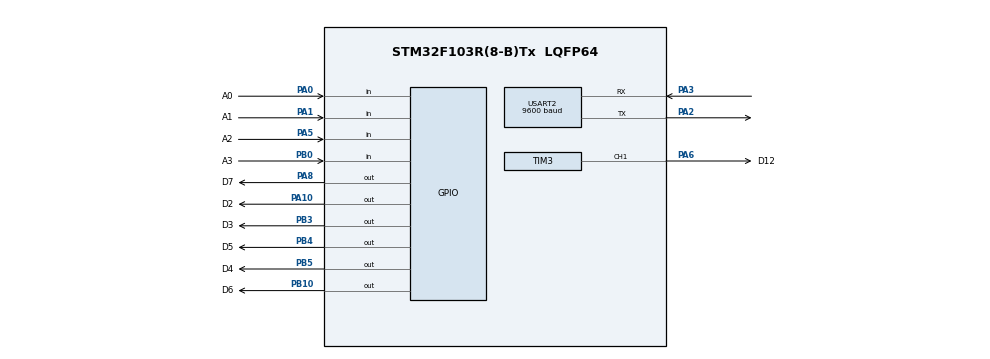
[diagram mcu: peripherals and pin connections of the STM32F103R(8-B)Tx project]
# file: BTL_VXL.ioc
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Mcu.Family=STM32F1
Mcu.Name=STM32F103R(8-B)Tx
Mcu.Package=LQFP64
NVIC.PriorityGroup=NVIC_PRIORITYGROUP_4
NVIC.TIM2_IRQn=true\:0\:0\:false\:false\:true\:true\:true
NVIC.TIM3_IRQn=true\:0\:0\:false\:false\:true\:true\:true
NVIC.USART2_IRQn=true\:0\:0\:false\:false\:true\:true\:true
PA0-WKUP.GPIO_Label=A0
PA0-WKUP.Signal=GPIO_Input
PA1.GPIO_Label=A1
PA1.Signal=GPIO_Input
PA10.GPIO_Label=D2
PA10.Signal=GPIO_Output
PA2.Mode=Asynchronous
PA2.Signal=USART2_TX
PA3.Mode=Asynchronous
PA3.Signal=USART2_RX
PA5.GPIO_Label=A2
PA5.Signal=GPIO_Input
PA6.GPIO_Label=D12
PA6.Signal=S_TIM3_CH1
PA8.GPIO_Label=D7
PA8.Signal=GPIO_Output
PB0.GPIO_Label=A3
PB0.Signal=GPIO_Input
PB10.GPIO_Label=D6
PB10.Signal=GPIO_Output
PB3.GPIO_Label=D3
PB3.Signal=GPIO_Output
PB4.GPIO_Label=D5
PB4.Signal=GPIO_Output
PB5.GPIO_Label=D4
PB5.Signal=GPIO_Output
ProjectManager.HeapSize=0x200
ProjectManager.StackSize=0x400
ProjectManager.TargetToolchain=STM32CubeIDE
RCC.APB1Freq_Value=8000000
RCC.APB2Freq_Value=8000000
SH.S_TIM3_CH1.0=TIM3_CH1,Output Compare1 CH1
TIM2.Period=10
TIM2.Prescaler=63
TIM3.Channel-Output\ Compare1\ CH1=TIM_CHANNEL_1
USART2.BaudRate=9600
USART2.VirtualMode=VM_ASYNC
VP_SYS_VS_ND.Mode=No_Debug
VP_TIM2_VS_ClockSourceINT.Mode=Internal
VP_TIM3_VS_ClockSourceINT.Mode=Internal
board=custom

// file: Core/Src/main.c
/* USER CODE BEGIN Header */
/**
  ******************************************************************************
  * @file           : main.c
  * @brief          : Main program body
  ******************************************************************************
  * @attention
  *
  * <h2><center>&copy; Copyright (c) 2023 STMicroelectronics.
  * All rights reserved.</center></h2>
  *
  * This software component is licensed by ST under BSD 3-Clause license,
  * the "License"; You may not use this file except in compliance with the
  * License. You may obtain a copy of the License at:
  *                        opensource.org/licenses/BSD-3-Clause
  *
  ******************************************************************************
  */
/* USER CODE END Header */
#include "main.h"

/* USER CODE BEGIN Includes */
#include <stdio.h>
#include "software_timer.h"
#include "fsm.h"
#include "button.h"
/* USER CODE END Includes */

TIM_HandleTypeDef htim2;
TIM_HandleTypeDef htim3;

UART_HandleTypeDef huart2;

void SystemClock_Config(void);
static void MX_GPIO_Init(void);
static void MX_TIM2_Init(void);
static void MX_USART2_UART_Init(void);
static void MX_TIM3_Init(void);

/* USER CODE BEGIN 0 */
void HAL_UART_RxCpltCallback(UART_HandleTypeDef *huart) {
	if (huart->Instance == USART2) {}
}
/* USER CODE END 0 */

int main(void)
{

  /* MCU Configuration--------------------------------------------------------*/

  /* Reset of all peripherals, Initializes the Flash interface and the Systick. */
  HAL_Init();

  /* Configure the system clock */
  SystemClock_Config();

  /* Initialize all configured peripherals */
  MX_GPIO_Init();
  MX_TIM2_Init();
  MX_USART2_UART_Init();
  MX_TIM3_Init();
  /* USER CODE BEGIN 2 */
  HAL_TIM_Base_Start_IT(&htim2);
  HAL_TIM_Base_Start_IT(&htim3);
  HAL_TIM_PWM_Start(&htim3, TIM_CHANNEL_1);
  /* USER CODE END 2 */

  /* Infinite loop */
  /* USER CODE BEGIN WHILE */
  while (1)
  {
	  fsm_automatic_run();
	  fsm_manual_run();
	  fsm_tuning_run();
    /* USER CODE END WHILE */

  }
}

void SystemClock_Config(void)
{
  RCC_OscInitTypeDef RCC_OscInitStruct = {0};
  RCC_ClkInitTypeDef RCC_ClkInitStruct = {0};

  /** Initializes the RCC Oscillators according to the specified parameters
  * in the RCC_OscInitTypeDef structure.
  */
  RCC_OscInitStruct.OscillatorType = RCC_OSCILLATORTYPE_HSI;
  RCC_OscInitStruct.HSIState = RCC_HSI_ON;
  RCC_OscInitStruct.HSICalibrationValue = RCC_HSICALIBRATION_DEFAULT;
  RCC_OscInitStruct.PLL.PLLState = RCC_PLL_NONE;
  if (HAL_RCC_OscConfig(&RCC_OscInitStruct) != HAL_OK)
  {
    Error_Handler();
  }
  /** Initializes the CPU, AHB and APB buses clocks
  */
  RCC_ClkInitStruct.ClockType = RCC_CLOCKTYPE_HCLK|RCC_CLOCKTYPE_SYSCLK
                              |RCC_CLOCKTYPE_PCLK1|RCC_CLOCKTYPE_PCLK2;
  RCC_ClkInitStruct.SYSCLKSource = RCC_SYSCLKSOURCE_HSI;
  RCC_ClkInitStruct.AHBCLKDivider = RCC_SYSCLK_DIV1;
  RCC_ClkInitStruct.APB1CLKDivider = RCC_HCLK_DIV1;
  RCC_ClkInitStruct.APB2CLKDivider = RCC_HCLK_DIV1;

  if (HAL_RCC_ClockConfig(&RCC_ClkInitStruct, FLASH_LATENCY_0) != HAL_OK)
  {
    Error_Handler();
  }
}

static void MX_TIM2_Init(void)
{

  TIM_ClockConfigTypeDef sClockSourceConfig = {0};
  TIM_MasterConfigTypeDef sMasterConfig = {0};

  htim2.Instance = TIM2;
  htim2.Init.Prescaler = 63;
  htim2.Init.CounterMode = TIM_COUNTERMODE_UP;
  htim2.Init.Period = 10;
  htim2.Init.ClockDivision = TIM_CLOCKDIVISION_DIV1;
  htim2.Init.AutoReloadPreload = TIM_AUTORELOAD_PRELOAD_DISABLE;
  if (HAL_TIM_Base_Init(&htim2) != HAL_OK)
  {
    Error_Handler();
  }
  sClockSourceConfig.ClockSource = TIM_CLOCKSOURCE_INTERNAL;
  if (HAL_TIM_ConfigClockSource(&htim2, &sClockSourceConfig) != HAL_OK)
  {
    Error_Handler();
  }
  sMasterConfig.MasterOutputTrigger = TIM_TRGO_RESET;
  sMasterConfig.MasterSlaveMode = TIM_MASTERSLAVEMODE_DISABLE;
  if (HAL_TIMEx_MasterConfigSynchronization(&htim2, &sMasterConfig) != HAL_OK)
  {
    Error_Handler();
  }

}

static void MX_TIM3_Init(void)
{

  TIM_ClockConfigTypeDef sClockSourceConfig = {0};
  TIM_MasterConfigTypeDef sMasterConfig = {0};
  TIM_OC_InitTypeDef sConfigOC = {0};

  htim3.Instance = TIM3;
  htim3.Init.Prescaler = 0;
  htim3.Init.CounterMode = TIM_COUNTERMODE_UP;
  htim3.Init.Period = 65535;
  htim3.Init.ClockDivision = TIM_CLOCKDIVISION_DIV1;
  htim3.Init.AutoReloadPreload = TIM_AUTORELOAD_PRELOAD_DISABLE;
  if (HAL_TIM_Base_Init(&htim3) != HAL_OK)
  {
    Error_Handler();
  }
  sClockSourceConfig.ClockSource = TIM_CLOCKSOURCE_INTERNAL;
  if (HAL_TIM_ConfigClockSource(&htim3, &sClockSourceConfig) != HAL_OK)
  {
    Error_Handler();
  }
  if (HAL_TIM_OC_Init(&htim3) != HAL_OK)
  {
    Error_Handler();
  }
  sMasterConfig.MasterOutputTrigger = TIM_TRGO_RESET;
  sMasterConfig.MasterSlaveMode = TIM_MASTERSLAVEMODE_DISABLE;
  if (HAL_TIMEx_MasterConfigSynchronization(&htim3, &sMasterConfig) != HAL_OK)
  {
    Error_Handler();
  }
  sConfigOC.OCMode = TIM_OCMODE_TIMING;
  sConfigOC.Pulse = 0;
  sConfigOC.OCPolarity = TIM_OCPOLARITY_HIGH;
  sConfigOC.OCFastMode = TIM_OCFAST_DISABLE;
  if (HAL_TIM_OC_ConfigChannel(&htim3, &sConfigOC, TIM_CHANNEL_1) != HAL_OK)
  {
    Error_Handler();
  }
  HAL_TIM_MspPostInit(&htim3);

}

static void MX_USART2_UART_Init(void)
{

  huart2.Instance = USART2;
  huart2.Init.BaudRate = 9600;
  huart2.Init.WordLength = UART_WORDLENGTH_8B;
  huart2.Init.StopBits = UART_STOPBITS_1;
  huart2.Init.Parity = UART_PARITY_NONE;
  huart2.Init.Mode = UART_MODE_TX_RX;
  huart2.Init.HwFlowCtl = UART_HWCONTROL_NONE;
  huart2.Init.OverSampling = UART_OVERSAMPLING_16;
  if (HAL_UART_Init(&huart2) != HAL_OK)
  {
    Error_Handler();
  }

}

static void MX_GPIO_Init(void)
{
  GPIO_InitTypeDef GPIO_InitStruct = {0};

  /* GPIO Ports Clock Enable */
  __HAL_RCC_GPIOA_CLK_ENABLE();
  __HAL_RCC_GPIOB_CLK_ENABLE();

  /*Configure GPIO pin Output Level */
  HAL_GPIO_WritePin(GPIOB, D6_Pin|D3_Pin|D5_Pin|D4_Pin, GPIO_PIN_RESET);

  /*Configure GPIO pin Output Level */
  HAL_GPIO_WritePin(GPIOA, D7_Pin|D2_Pin, GPIO_PIN_RESET);

  /*Configure GPIO pins : A0_Pin A1_Pin A2_Pin */
  GPIO_InitStruct.Pin = A0_Pin|A1_Pin|A2_Pin;
  GPIO_InitStruct.Mode = GPIO_MODE_INPUT;
  GPIO_InitStruct.Pull = GPIO_NOPULL;
  HAL_GPIO_Init(GPIOA, &GPIO_InitStruct);

  /*Configure GPIO pin : A3_Pin */
  GPIO_InitStruct.Pin = A3_Pin;
  GPIO_InitStruct.Mode = GPIO_MODE_INPUT;
  GPIO_InitStruct.Pull = GPIO_NOPULL;
  HAL_GPIO_Init(A3_GPIO_Port, &GPIO_InitStruct);

  /*Configure GPIO pins : D6_Pin D3_Pin D5_Pin D4_Pin */
  GPIO_InitStruct.Pin = D6_Pin|D3_Pin|D5_Pin|D4_Pin;
  GPIO_InitStruct.Mode = GPIO_MODE_OUTPUT_PP;
  GPIO_InitStruct.Pull = GPIO_NOPULL;
  GPIO_InitStruct.Speed = GPIO_SPEED_FREQ_LOW;
  HAL_GPIO_Init(GPIOB, &GPIO_InitStruct);

  /*Configure GPIO pins : D7_Pin D2_Pin */
  GPIO_InitStruct.Pin = D7_Pin|D2_Pin;
  GPIO_InitStruct.Mode = GPIO_MODE_OUTPUT_PP;
  GPIO_InitStruct.Pull = GPIO_NOPULL;
  GPIO_InitStruct.Speed = GPIO_SPEED_FREQ_LOW;
  HAL_GPIO_Init(GPIOA, &GPIO_InitStruct);

}

/* USER CODE BEGIN 4 */
void HAL_TIM_PeriodElapsedCallback(TIM_HandleTypeDef *htim){
	if (htim->Instance == TIM2) {
		timerRun();
		getKeyInput();
	}
}
/* USER CODE END 4 */

void Error_Handler(void)
{
  __disable_irq();
  while (1)
  {
  }
}

/************************ (C) COPYRIGHT STMicroelectronics *****END OF FILE****/
